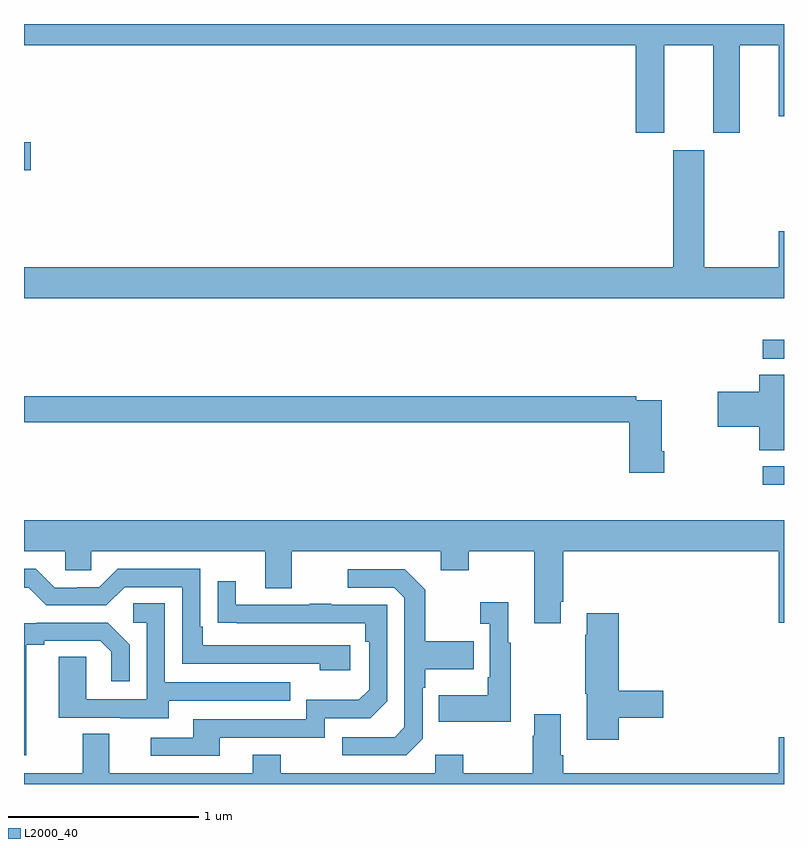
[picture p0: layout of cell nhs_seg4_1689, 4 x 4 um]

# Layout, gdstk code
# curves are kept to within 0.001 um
import gdstk
lib = gdstk.Library(unit=1e-6, precision=1e-09)
def R(c, l, rs):  # rectangles x0, y0, x1, y1
    for r in rs: c.add(gdstk.rectangle(r[:2], r[2:], *l))
def P(c, l, *ps):  # polygons
    for p in ps: c.add(gdstk.Polygon(p, *l))
L2000_40 = (2000, 40)

nhs_seg4_1689 = lib.new_cell('nhs_seg4_1689')
R(nhs_seg4_1689, L2000_40, [(200.889,826.476,201,826.572), (200.889,827.139,201,827.238), (197,828.131,197.035,828.278)])
P(nhs_seg4_1689, L2000_40, [(200.371,828.788),(200.627,828.788),(200.627,828.327),(200.767,828.327),(200.767,828.788),(200.972,828.788),(200.972,828.414),(201,828.414),(201,828.9),(197,828.9),(197,828.788),(200.219,828.788),(200.219,828.327),(200.371,828.327)],
  [(201,827.809),(200.972,827.809),(200.972,827.62),(200.581,827.62),(200.581,828.235),(200.417,828.235),(200.417,827.62),(197,827.62),(197,827.456),(201,827.456)],
  [(201,827.054),(200.87,827.054),(200.87,826.964),(200.652,826.964),(200.652,826.781),(200.87,826.781),(200.87,826.657),(201,826.657)],
  [(200.369,826.651),(200.356,826.651),(200.356,826.92),(200.222,826.92),(200.222,826.94),(197,826.94),(197,826.804),(200.186,826.804),(200.186,826.539),(200.369,826.539)],
  [(199.825,825.859),(199.838,825.859),(199.838,826.124),(200.972,826.124),(200.972,825.75),(201,825.75),(201,826.288),(197,826.288),(197,826.124),(197.217,826.124),(197.217,826.026),(197.355,826.026),(197.355,826.124),(198.269,826.124),(198.269,825.93),(198.409,825.93),(198.409,826.124),(199.193,826.124),(199.193,826.025),(199.341,826.025),(199.341,826.124),(199.685,826.124),(199.685,825.747),(199.825,825.747)],
  [(198.718,825.63),(197.941,825.63),(197.941,825.727),(197.928,825.727),(197.928,826.032),(197.493,826.032),(197.397,825.936),(197.279,825.936),(197.279,825.933),(197.163,825.933),(197.063,826.033),(197,826.033),(197,825.933),(197.025,825.933),(197.118,825.84),(197.433,825.84),(197.529,825.936),(197.832,825.936),(197.832,825.534),(198.557,825.534),(198.557,825.5),(198.718,825.5)],
  [(199.098,825.138),(199.098,825.407),(199.111,825.407),(199.111,825.503),(199.367,825.503),(199.367,825.651),(199.111,825.651),(199.111,825.923),(199.005,826.029),(198.705,826.029),(198.705,825.933),(198.948,825.933),(199.002,825.879),(199.002,825.198),(198.951,825.147),(198.675,825.147),(198.675,825.051),(199.011,825.051)],
  [(198.031,825.144),(198.582,825.144),(198.582,825.246),(198.822,825.246),(198.912,825.336),(198.912,825.843),(198.617,825.843),(198.617,825.848),(198.505,825.848),(198.505,825.843),(198.115,825.843),(198.115,825.967),(198.019,825.967),(198.019,825.748),(198.796,825.747),(198.796,825.65),(198.816,825.65),(198.816,825.396),(198.763,825.343),(198.486,825.343),(198.486,825.24),(197.891,825.24),(197.891,825.144),(197.667,825.144),(197.667,825.048),(198.031,825.048)],
  [(199.561,825.643),(199.549,825.643),(199.549,825.856),(199.401,825.856),(199.401,825.743),(199.452,825.743),(199.452,825.463),(199.44,825.463),(199.44,825.367),(199.183,825.367),(199.183,825.227),(199.561,825.227)],
  [(197.761,825.339),(198.401,825.339),(198.401,825.435),(197.742,825.435),(197.742,825.851),(197.574,825.851),(197.574,825.75),(197.646,825.75),(197.646,825.345),(197.328,825.345),(197.328,825.569),(197.183,825.569),(197.183,825.249),(197.507,825.249),(197.507,825.245),(197.761,825.245)],
  [(200.129,825.25),(200.365,825.25),(200.365,825.392),(200.129,825.392),(200.129,825.799),(199.961,825.799),(199.961,825.686),(199.954,825.686),(199.954,825.375),(199.961,825.375),(199.961,825.132),(200.129,825.132)],
  [(197.011,825.632),(197.107,825.632),(197.107,825.654),(197.402,825.654),(197.459,825.597),(197.459,825.441),(197.556,825.441),(197.556,825.634),(197.44,825.75),(197.068,825.75),(197.068,825.747),(197,825.747),(197,825.051),(197.011,825.051)],
  [(201,825.145),(200.972,825.145),(200.972,824.956),(199.838,824.956),(199.838,825.052),(199.825,825.052),(199.825,825.268),(199.685,825.268),(199.685,825.155),(199.678,825.155),(199.678,824.956),(199.311,824.956),(199.311,825.055),(199.164,825.055),(199.164,824.956),(198.351,824.956),(198.351,825.055),(198.203,825.055),(198.203,824.956),(197.449,824.956),(197.449,825.164),(197.309,825.164),(197.309,824.956),(197,824.956),(197,824.9),(201,824.9)])

lib.write_gds('nhs_seg4_1689.gds')
